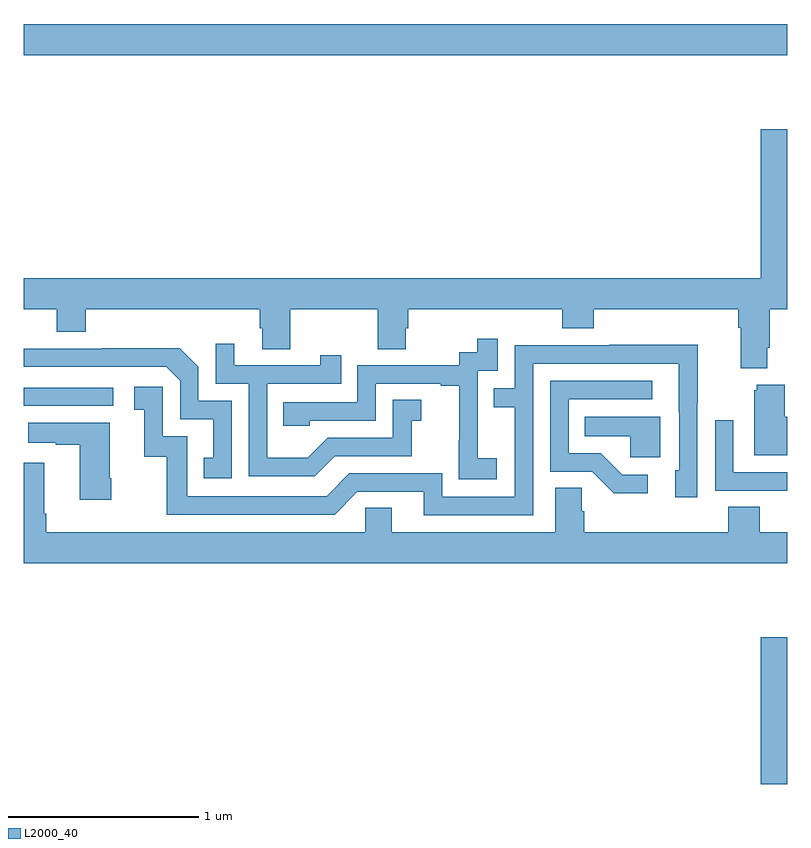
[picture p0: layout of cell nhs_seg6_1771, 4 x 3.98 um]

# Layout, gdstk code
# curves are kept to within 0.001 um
import gdstk
lib = gdstk.Library(unit=1e-6, precision=1e-09)
def R(c, l, rs):  # rectangles x0, y0, x1, y1
    for r in rs: c.add(gdstk.rectangle(r[:2], r[2:], *l))
def P(c, l, *ps):  # polygons
    for p in ps: c.add(gdstk.Polygon(p, *l))
L2000_40 = (2000, 40)

nhs_seg6_1771 = lib.new_cell('nhs_seg6_1771')
R(nhs_seg6_1771, L2000_40, [(220.862,959.5,221,960.268), (217,961.482,217.468,961.578), (217,963.32,221,963.484)])
P(nhs_seg6_1771, L2000_40, [(220.897,961.786),(220.91,961.786),(220.91,961.988),(221,961.988),(221,962.932),(220.862,962.932),(220.862,962.152),(217,962.152),(217,961.988),(217.172,961.988),(217.172,961.871),(217.325,961.871),(217.325,961.988),(218.237,961.988),(218.237,961.89),(218.249,961.89),(218.249,961.78),(218.397,961.78),(218.397,961.988),(218.854,961.988),(218.854,961.78),(219.001,961.78),(219.001,961.89),(219.014,961.89),(219.014,961.988),(219.821,961.988),(219.821,961.889),(219.986,961.889),(219.986,961.988),(220.745,961.988),(220.745,961.892),(220.757,961.892),(220.757,961.679),(220.897,961.679)],
  [(219.478,961.207),(219.38,961.207),(219.38,961.436),(219.378,961.436),(219.378,961.665),(219.483,961.665),(219.483,961.834),(219.375,961.834),(219.375,961.764),(219.282,961.764),(219.282,961.695),(218.748,961.695),(218.748,961.5),(218.359,961.5),(218.359,961.377),(218.499,961.377),(218.499,961.404),(218.844,961.404),(218.844,961.599),(219.185,961.599),(219.185,961.587),(219.281,961.587),(219.281,961.303),(219.28,961.303),(219.28,961.097),(219.478,961.097)],
  [(218.629,961.218),(219.033,961.218),(219.033,961.403),(219.082,961.403),(219.082,961.513),(218.934,961.513),(218.934,961.314),(218.592,961.314),(218.488,961.21),(218.274,961.21),(218.274,961.599),(218.663,961.599),(218.663,961.747),(218.552,961.747),(218.552,961.695),(218.101,961.695),(218.101,961.807),(218.004,961.807),(218.004,961.599),(218.178,961.599),(218.178,961.113),(218.524,961.113)],
  [(219.669,961.704),(220.433,961.704),(220.434,961.146),(220.415,961.146),(220.415,961.002),(220.53,961.002),(220.53,961.495),(220.533,961.495),(220.533,961.802),(220.069,961.802),(220.069,961.8),(219.573,961.8),(219.573,961.575),(219.463,961.575),(219.463,961.474),(219.573,961.474),(219.573,961.005),(219.192,961.005),(219.192,961.128),(218.706,961.128),(218.586,961.008),(217.857,961.008),(217.857,961.323),(217.728,961.323),(217.728,961.582),(217.578,961.582),(217.578,961.461),(217.631,961.461),(217.631,961.215),(217.749,961.215),(217.749,960.912),(218.628,960.912),(218.748,961.032),(219.095,961.032),(219.095,960.909),(219.669,960.909)],
  [(218.088,961.509),(217.914,961.509),(217.914,961.686),(217.816,961.784),(217,961.782),(217,961.686),(217.746,961.686),(217.818,961.614),(217.818,961.413),(217.991,961.413),(217.991,961.209),(217.942,961.209),(217.942,961.104),(218.088,961.104)],
  [(220.27,961.122),(220.135,961.122),(220.024,961.233),(219.855,961.233),(219.855,961.518),(220.294,961.518),(220.294,961.614),(219.759,961.614),(219.759,961.137),(219.978,961.137),(220.091,961.025),(220.27,961.025)],
  [(221,961.426),(220.987,961.426),(220.987,961.594),(220.841,961.594),(220.841,961.563),(220.829,961.563),(220.829,961.223),(221,961.223)],
  [(220.336,961.426),(219.94,961.426),(219.94,961.322),(220.179,961.322),(220.179,961.214),(220.336,961.214)],
  [(221,961.134),(220.719,961.134),(220.719,961.408),(220.623,961.408),(220.623,961.038),(220.939,961.038),(220.939,961.037),(221,961.037)],
  [(217.458,961.102),(217.45,961.102),(217.45,961.393),(217.023,961.393),(217.023,961.289),(217.166,961.289),(217.166,961.279),(217.292,961.279),(217.292,960.99),(217.458,960.99)],
  [(221,960.82),(220.856,960.82),(220.856,960.953),(220.691,960.953),(220.691,960.82),(219.938,960.82),(219.938,960.929),(219.924,960.929),(219.924,961.052),(219.785,961.052),(219.785,960.82),(218.929,960.82),(218.929,960.947),(218.79,960.947),(218.79,960.82),(217.118,960.82),(217.118,960.916),(217.105,960.916),(217.105,961.183),(217,961.183),(217,960.656),(221,960.656)])

lib.write_gds('nhs_seg6_1771.gds')
